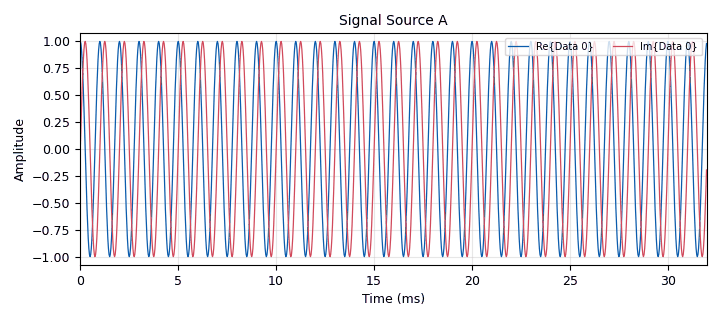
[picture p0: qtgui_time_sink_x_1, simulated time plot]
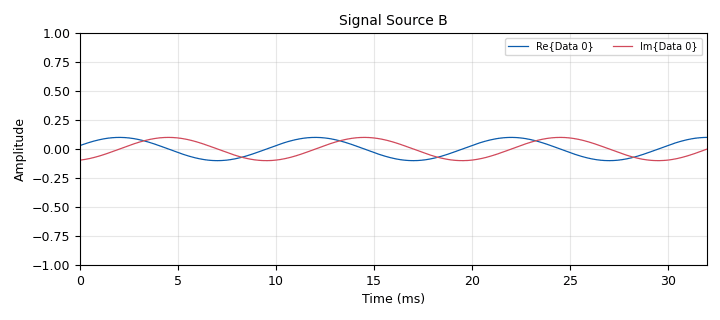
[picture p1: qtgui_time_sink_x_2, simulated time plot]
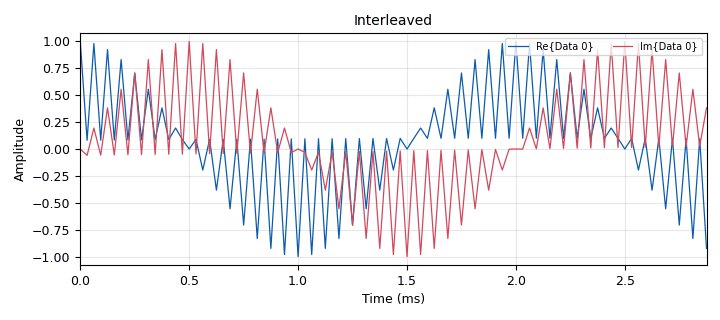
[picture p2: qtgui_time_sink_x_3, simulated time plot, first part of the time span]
options:
  parameters:
    generate_options: qt_gui
    id: sineWaveFlowgraph
    output_language: python
    title: My First Flowgraph
  states: {}

blocks:
- name: frequency
  id: variable
  parameters:
    value: samp_rate / 3
  states: {state: disabled}
- name: frequency
  id: variable_qtgui_range
  parameters:
    start: '-samp_rate/2'
    step: '100'
    stop: samp_rate/2
    value: '0'
  states: {state: disabled}
- name: frequency
  id: variable_qtgui_chooser
  parameters:
    label0: Frequency 0
    label1: Frequency 1000
    label2: Frequency -2000
    num_opts: '3'
    option0: '0'
    option1: '1000'
    option2: '-2000'
    type: int
    value: '0'
  states: {state: disabled}
- name: samp_rate
  id: variable
  parameters:
    value: '32000'
  states: {}
- name: analog_random_source_x_0
  id: analog_random_source_x
  parameters:
    max: '2'
    min: '0'
    num_samps: '1000'
    repeat: 'True'
    type: byte
  states: {state: disabled}
- name: analog_sig_source_x_0
  id: analog_sig_source_x
  parameters:
    amp: '1'
    freq: frequency
    offset: '0'
    phase: '0'
    samp_rate: samp_rate
    type: float
    waveform: analog.GR_COS_WAVE
  states: {state: disabled}
- name: analog_sig_source_x_1
  id: analog_sig_source_x
  parameters:
    amp: '1'
    freq: '1000'
    offset: '0'
    phase: '0'
    samp_rate: samp_rate
    type: complex
    waveform: analog.GR_COS_WAVE
  states: {}
- name: analog_sig_source_x_2
  id: analog_sig_source_x
  parameters:
    amp: '0.1'
    freq: '100'
    offset: '0'
    phase: '0'
    samp_rate: samp_rate
    type: complex
    waveform: analog.GR_COS_WAVE
  states: {}
- name: blocks_char_to_float_0
  id: blocks_char_to_float
  parameters:
    scale: '1'
  states: {state: disabled}
- name: blocks_char_to_float_1
  id: blocks_char_to_float
  parameters:
    scale: '1'
  states: {state: disabled}
- name: blocks_char_to_float_2
  id: blocks_char_to_float
  parameters:
    scale: '1'
  states: {state: disabled}
- name: blocks_pack_k_bits_bb_0
  id: blocks_pack_k_bits_bb
  parameters:
    k: '4'
  states: {state: disabled}
- name: blocks_streams_to_vector_0
  id: blocks_streams_to_vector
  parameters:
    type: complex
  states: {}
- name: blocks_throttle2_0
  id: blocks_throttle2
  parameters:
    samples_per_second: samp_rate
    type: byte
  states: {state: disabled}
- name: blocks_throttle2_1
  id: blocks_throttle2
  parameters:
    samples_per_second: samp_rate
    type: byte
  states: {state: disabled}
- name: blocks_vector_to_stream_0
  id: blocks_vector_to_stream
  parameters:
    type: complex
  states: {}
- name: qtgui_freq_sink_x_0
  id: qtgui_freq_sink_x
  parameters:
    bw: samp_rate
    fc: '0'
    fftsize: '1024'
    type: float
  states: {state: disabled}
- name: qtgui_histogram_sink_x_0
  id: qtgui_histogram_sink_x
  parameters:
    bins: '1024'
    name: 4 bits
    size: '1024'
    type: float
    xmax: '16'
    xmin: '-1'
  states: {state: disabled}
- name: qtgui_histogram_sink_x_1
  id: qtgui_histogram_sink_x
  parameters:
    bins: '1024'
    name: 1 bit
    size: '1024'
    type: float
    xmax: '16'
    xmin: '-1'
  states: {state: disabled}
- name: qtgui_time_sink_x_0
  id: qtgui_time_sink_x
  parameters:
    size: '1024'
    srate: samp_rate
    type: float
  states: {state: disabled}
- name: qtgui_time_sink_x_1
  id: qtgui_time_sink_x
  parameters:
    name: Signal Source A
    size: '1024'
    srate: samp_rate
    type: complex
  states: {}
- name: qtgui_time_sink_x_2
  id: qtgui_time_sink_x
  parameters:
    name: Signal Source B
    size: '1024'
    srate: samp_rate
    type: complex
  states: {}
- name: qtgui_time_sink_x_3
  id: qtgui_time_sink_x
  parameters:
    name: Interleaved
    size: '1024'
    srate: samp_rate
    type: complex
  states: {}

connections:
- [analog_random_source_x_0, '0', blocks_throttle2_0, '0']
- [analog_random_source_x_0, '0', blocks_throttle2_1, '0']
- [analog_sig_source_x_0, '0', blocks_throttle2_0, '0']
- [analog_sig_source_x_1, '0', blocks_streams_to_vector_0, '0']
- [analog_sig_source_x_1, '0', qtgui_time_sink_x_1, '0']
- [analog_sig_source_x_2, '0', blocks_streams_to_vector_0, '1']
- [analog_sig_source_x_2, '0', qtgui_time_sink_x_2, '0']
- [blocks_char_to_float_0, '0', qtgui_time_sink_x_0, '0']
- [blocks_char_to_float_1, '0', qtgui_histogram_sink_x_0, '0']
- [blocks_char_to_float_2, '0', qtgui_histogram_sink_x_1, '0']
- [blocks_pack_k_bits_bb_0, '0', blocks_char_to_float_1, '0']
- [blocks_streams_to_vector_0, '0', blocks_vector_to_stream_0, '0']
- [blocks_throttle2_0, '0', blocks_char_to_float_0, '0']
- [blocks_throttle2_0, '0', qtgui_freq_sink_x_0, '0']
- [blocks_throttle2_1, '0', blocks_char_to_float_2, '0']
- [blocks_throttle2_1, '0', blocks_pack_k_bits_bb_0, '0']
- [blocks_vector_to_stream_0, '0', qtgui_time_sink_x_3, '0']

metadata:
  file_format: 1
  grc_version: 3.10.10.0
